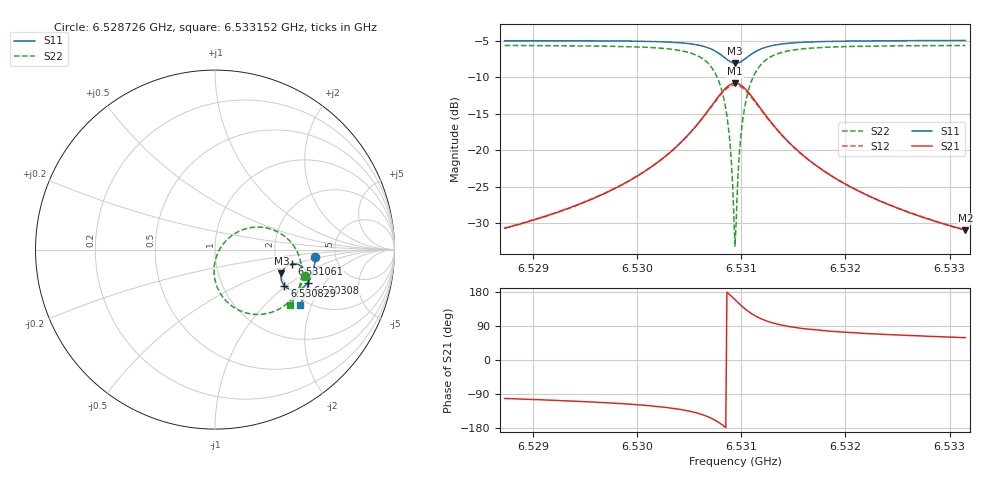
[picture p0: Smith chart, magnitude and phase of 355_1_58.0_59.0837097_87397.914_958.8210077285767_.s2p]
#  HZ  S  RI  R  50.00
! Rohde & Schwarz Vector Network Analyzer
! Rohde-Schwarz,ZNB20-2Port,1311601062101988,3.16
! Created: UTC 3/21/2024, 1:06:10 AM
! freq[Hz]  re:S11  im:S11  re:S21  im:S21  re:S12  im:S12  re:S22  im:S22
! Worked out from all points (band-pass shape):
!   401 points, 6.528726 GHz to 6.533152 GHz, reference 50 ohm
!   highest |S21| = -10.84 dB at 6.530939 GHz (marker M1); lowest = -31.0 dB at 6.533152 GHz (marker M2)
!   |S21| within 3 dB of the highest: 6.530719 GHz to 6.531162 GHz (443.1 kHz wide, 0.00679 % of centre)
!   lowest |S11| = -8.1 dB at 6.530939 GHz (marker M3), VSWR 2.30, Z = 102 - j32.1 ohm
!   |S11| at or under -10 dB: nowhere
!   |S22| runs from -33.2 to -5.7 dB; largest |S21 - S12| = 0.011
!   S11 on the Smith chart (normalised r, x): 6.528726 GHz: 3.50, -0.43; 6.530308 GHz: 2.60, -1.39; 6.530829 GHz: 1.94, -0.97; 6.531061 GHz: 2.42, -0.49; 6.533152 GHz: 1.82, -1.65
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6.5287263e9  0.5597 -0.0426  -0.00591 -0.0287  -0.0064 -0.0286  0.5 -0.1457
6.5294676e9  0.5509 -0.1033  -0.0145 -0.0407  -0.0153 -0.0404  0.4717 -0.213
6.5302089e9  0.5243 -0.1747  -0.0458 -0.0703  -0.0476 -0.0691  0.3955 -0.3058
6.5303085e9  0.5166 -0.1862  -0.0564 -0.0771  -0.0586 -0.0756  0.3728 -0.3222
6.5306626e9  0.4541 -0.2258  -0.1519 -0.0953  -0.1541 -0.0893  0.1911 -0.3567
6.5307621e9  0.4155 -0.2214  -0.2119 -0.072  -0.2115 -0.0637  0.0884 -0.3098
6.5308285e9  0.3867 -0.202  -0.2547 -0.0283  -0.2506 -0.0193  0.0216 -0.2294
6.5308617e9  0.3752 -0.1849  -0.2704 0.00511  -0.2642 0.0136  0.000492 -0.171
6.5308839e9  0.3701 -0.1712  -0.2764 0.0312  -0.2688 0.0388  -0.00525 -0.1267
6.5309171e9  0.3679 -0.1483  -0.2758 0.0737  -0.2666 0.079  0.00217 -0.0568
6.5309281e9  0.3687 -0.1404  -0.2726 0.0879  -0.2634 0.0924  0.00955 -0.0338
6.5309392e9  0.3705 -0.1327  -0.2683 0.1019  -0.2588 0.1055  0.0187 -0.0115
6.5309502e9  0.3731 -0.1252  -0.2625 0.1153  -0.2529 0.1181  0.0307 0.00976
6.5309613e9  0.3765 -0.1181  -0.2554 0.128  -0.246 0.13  0.0441 0.0295
6.5309834e9  0.3853 -0.1053  -0.238 0.151  -0.2289 0.1513  0.0764 0.0644
6.5310056e9  0.3963 -0.0949  -0.2172 0.1693  -0.209 0.1683  0.1136 0.0914
6.5310609e9  0.4275 -0.0812  -0.1607 0.1947  -0.1549 0.192  0.2115 0.1243
6.5311383e9  0.466 -0.0845  -0.0929 0.1931  -0.09 0.1905  0.3254 0.1093
6.531249e9  0.4985 -0.1068  -0.0358 0.1636  -0.0345 0.1622  0.4183 0.0459
6.5316805e9  0.5199 -0.1826  0.014 0.0809  0.0148 0.0807  0.483 -0.1301
6.5324218e9  0.4997 -0.2554  0.0165 0.0388  0.0172 0.0386  0.4555 -0.2455
6.5331521e9  0.4715 -0.3088  0.0146 0.0242  0.0151 0.024  0.42 -0.3076
